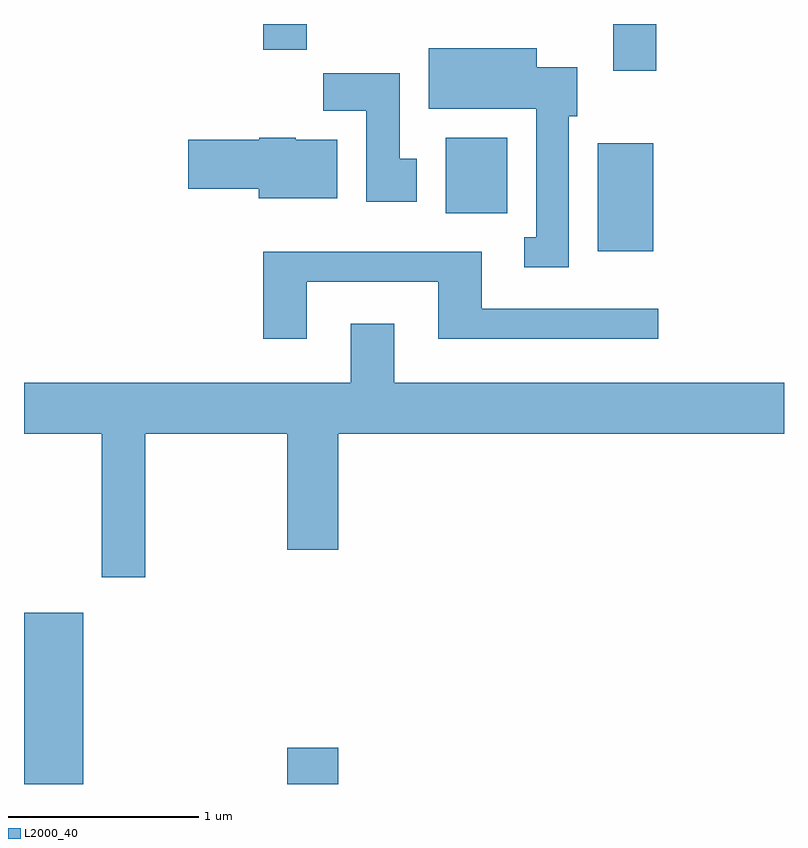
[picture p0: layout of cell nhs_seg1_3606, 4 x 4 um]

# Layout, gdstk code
import gdstk
lib = gdstk.Library(unit=1e-6, precision=1e-09)
def R(c, l, rs):  # rectangles x0, y0, x1, y1
    for r in rs: c.add(gdstk.rectangle(r[:2], r[2:], *l))
def P(c, l, *ps):  # polygons
    for p in ps: c.add(gdstk.Polygon(p, *l))
L2000_40 = (2000, 40)

nhs_seg1_3606 = lib.new_cell('nhs_seg1_3606')
R(nhs_seg1_3606, L2000_40, [(293.611,917.712,293.924,918.614), (294.996,917.712,295.264,917.904), (296.631,920.516,296.924,921.084), (295.831,920.716,296.154,921.114), (296.711,921.466,296.939,921.712), (294.871,921.576,295.099,921.712)])
P(nhs_seg1_3606, L2000_40, [(296.479,921.226),(296.524,921.226),(296.524,921.484),(296.309,921.484),(296.309,921.584),(295.741,921.584),(295.741,921.266),(296.306,921.266),(296.306,920.589),(296.243,920.589),(296.243,920.431),(296.479,920.431)],
  [(295.679,921.004),(295.589,921.004),(295.589,921.454),(295.186,921.454),(295.186,921.256),(295.411,921.256),(295.411,920.776),(295.679,920.776)],
  [(295.259,921.104),(295.04,921.104),(295.04,921.114),(294.85,921.114),(294.85,921.104),(294.476,921.104),(294.476,920.846),(294.846,920.846),(294.846,920.796),(295.259,920.796)],
  [(295.099,920.356),(295.791,920.356),(295.791,920.056),(296.948,920.056),(296.948,920.214),(296.019,920.214),(296.019,920.514),(294.871,920.514),(294.871,920.056),(295.099,920.056)],
  [(294.249,919.556),(294.996,919.556),(294.996,918.946),(295.264,918.946),(295.264,919.556),(297.611,919.556),(297.611,919.824),(295.559,919.824),(295.559,920.134),(295.331,920.134),(295.331,919.824),(293.611,919.824),(293.611,919.556),(294.021,919.556),(294.021,918.801),(294.249,918.801)])

lib.write_gds('nhs_seg1_3606.gds')
